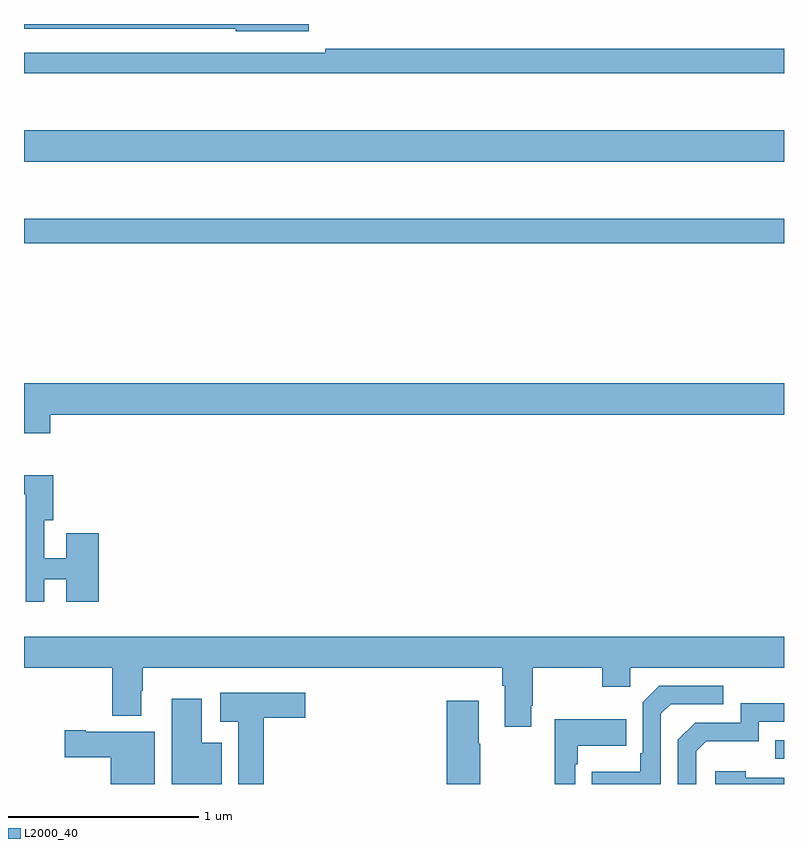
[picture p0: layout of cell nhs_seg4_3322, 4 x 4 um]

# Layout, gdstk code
import gdstk
lib = gdstk.Library(unit=1e-6, precision=1e-09)
def R(c, l, rs):  # rectangles x0, y0, x1, y1
    for r in rs: c.add(gdstk.rectangle(r[:2], r[2:], *l))
def P(c, l, *ps):  # polygons
    for p in ps: c.add(gdstk.Polygon(p, *l))
L2000_40 = (2000, 40)

nhs_seg4_3322 = lib.new_cell('nhs_seg4_3322')
R(nhs_seg4_3322, L2000_40, [(290.953,771.033,291,771.129), (287,773.746,291,773.875), (287,774.176,291,774.34)])
P(nhs_seg4_3322, L2000_40, [(288.499,774.9),(287,774.9),(287,774.876),(288.114,774.876),(288.114,774.863),(288.499,774.863)],
  [(291,774.77),(288.586,774.77),(288.586,774.75),(287,774.75),(287,774.642),(291,774.642)],
  [(287.138,772.844),(291,772.844),(291,773.008),(287,773.008),(287,772.745),(287.138,772.745)],
  [(287.106,771.978),(287.222,771.978),(287.222,771.858),(287.393,771.858),(287.393,772.219),(287.222,772.219),(287.222,772.088),(287.106,772.088),(287.106,772.289),(287.153,772.289),(287.153,772.524),(287,772.524),(287,772.424),(287.01,772.424),(287.01,771.858),(287.106,771.858)],
  [(287,771.512),(287.465,771.512),(287.465,771.26),(287.617,771.26),(287.617,771.392),(287.625,771.392),(287.625,771.512),(289.517,771.512),(289.517,771.416),(289.529,771.416),(289.529,771.201),(289.669,771.201),(289.669,771.313),(289.677,771.313),(289.677,771.512),(290.044,771.512),(290.044,771.413),(290.19,771.413),(290.19,771.512),(291,771.512),(291,771.676),(287,771.676)],
  [(290.352,771.27),(290.403,771.321),(290.68,771.321),(290.68,771.417),(290.343,771.417),(290.256,771.33),(290.256,771.061),(290.244,771.061),(290.244,770.965),(289.987,770.965),(289.987,770.9),(290.352,770.9)],
  [(288.263,771.25),(288.481,771.25),(288.481,771.379),(288.033,771.379),(288.033,771.227),(288.128,771.227),(288.128,770.9),(288.263,770.9)],
  [(288.04,771.118),(287.935,771.118),(287.935,771.349),(287.777,771.349),(287.777,770.9),(288.04,770.9)],
  [(289.401,771.113),(289.393,771.113),(289.393,771.337),(289.226,771.337),(289.226,770.9),(289.401,770.9)],
  [(290.538,771.072),(290.591,771.125),(290.868,771.125),(290.868,771.228),(291,771.228),(291,771.324),(290.772,771.324),(290.772,771.222),(290.532,771.222),(290.442,771.132),(290.442,770.9),(290.538,770.9)],
  [(289.902,771.005),(289.915,771.005),(289.915,771.101),(290.171,771.101),(290.171,771.241),(289.794,771.241),(289.794,770.9),(289.902,770.9)],
  [(287.689,771.175),(287.326,771.175),(287.326,771.183),(287.214,771.183),(287.214,771.041),(287.456,771.041),(287.456,770.9),(287.689,770.9)],
  [(291,770.934),(290.798,770.934),(290.798,770.968),(290.637,770.968),(290.637,770.9),(291,770.9)])

lib.write_gds('nhs_seg4_3322.gds')
